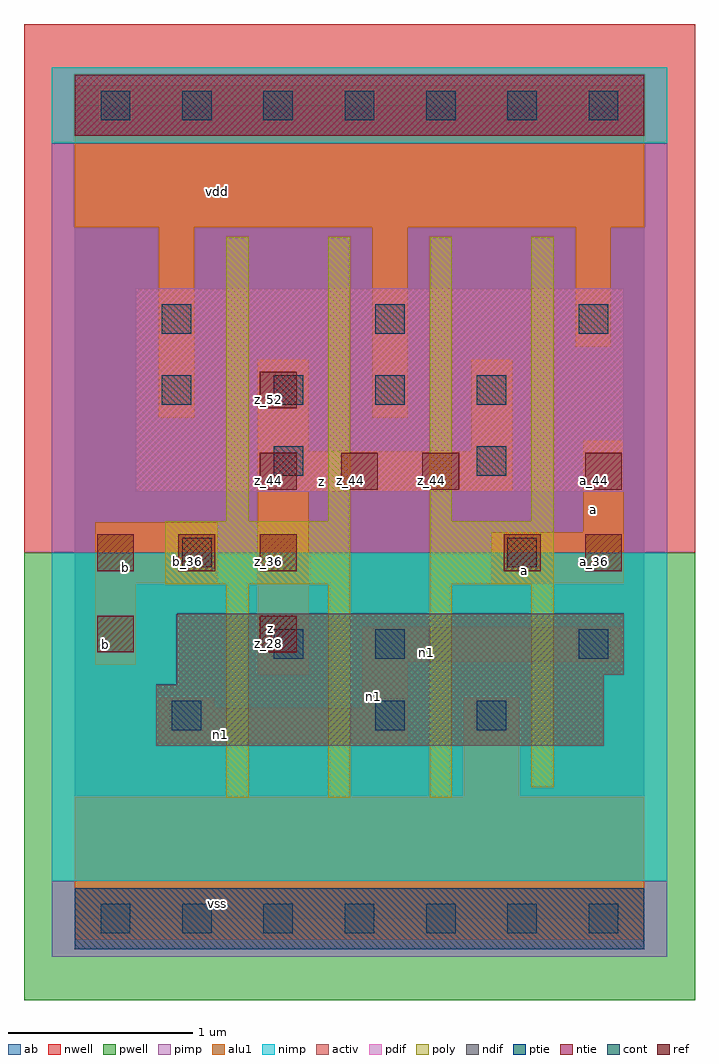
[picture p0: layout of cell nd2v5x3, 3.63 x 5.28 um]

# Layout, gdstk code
import gdstk
lib = gdstk.Library(unit=1e-6, precision=2.5e-09)
def R(c, l, rs):  # rectangles x0, y0, x1, y1
    for r in rs: c.add(gdstk.rectangle(r[:2], r[2:], *l))
def A(c, l, x, y, w, h, nx, ny, dx, dy):  # array of equal rectangles
    R(c, l, [(x+i*dx, y+j*dy, x+i*dx+w, y+j*dy+h) for i in range(nx) for j in range(ny)])
ndif = (3, 0)
pdif = (4, 0)
ntie = (5, 0)
ptie = (6, 0)
ref = (24, 0)
cont = (25, 0)
pwell = (41, 0)
nwell = (42, 0)
activ = (43, 0)
pimp = (44, 0)
nimp = (45, 0)
poly = (46, 0)
alu1 = (49, 0)
ab = (63, 0)

nd2v5x3 = lib.new_cell('nd2v5x3')
R(nd2v5x3, ndif, [(0.44,0.935,2.86,1.265), (0.55,1.265,2.86,1.32), (0.55,1.32,2.97,1.65)])
R(nd2v5x3, pdif, [(0.33,2.31,2.97,3.41)])
R(nd2v5x3, ntie, [(0,4.235,3.08,4.565)])
R(nd2v5x3, ptie, [(0,-0.165,3.08,0.165)])
A(nd2v5x3, ref, 0.12, 1.88, 0.2, 0.2, 3, 1, 0.44, 0)
A(nd2v5x3, ref, 1, 2.32, 0.2, 0.2, 3, 1, 0.44, 0)
R(nd2v5x3, ref, [(0.12,1.44,0.32,1.64), (1,1.44,1.2,1.64), (2.32,1.88,2.52,2.08), (2.76,1.88,2.96,2.08), (2.76,2.32,2.96,2.52), (1,2.76,1.2,2.96)])
A(nd2v5x3, cont, 0.14, -0.08, 0.16, 0.16, 7, 2, 0.44, 4.4)
A(nd2v5x3, cont, 1.075, 2.78, 0.16, 0.16, 3, 1, 0.55, 0)
R(nd2v5x3, cont, [(0.525,1.02,0.685,1.18), (1.625,1.02,1.785,1.18), (2.175,1.02,2.335,1.18), (1.075,1.405,1.235,1.565), (1.625,1.405,1.785,1.565), (2.725,1.405,2.885,1.565), (0.58,1.9,0.74,2.06), (2.34,1.9,2.5,2.06), (1.075,2.395,1.235,2.555), (2.175,2.395,2.335,2.555), (0.47,2.78,0.63,2.94), (0.47,3.165,0.63,3.325), (1.625,3.165,1.785,3.325), (2.725,3.165,2.885,3.325)])
R(nd2v5x3, pwell, [(-0.275,-0.44,3.355,1.98)])
R(nd2v5x3, nwell, [(-0.275,1.98,3.355,4.84)])
R(nd2v5x3, activ, [(0,-0.165,3.08,0.165), (0.44,0.935,2.86,1.265), (0.55,1.265,2.86,1.32), (0.55,1.32,2.97,1.65), (0.33,2.31,2.97,3.41), (0,4.235,3.08,4.565)])
R(nd2v5x3, pimp, [(-0.125,-0.205,3.205,0.205), (-0.125,1.98,3.205,4.195)])
R(nd2v5x3, nimp, [(-0.125,0.205,3.205,1.98), (-0.125,4.195,3.205,4.605)])
A(nd2v5x3, poly, 0.82, 0.655, 0.12, 1.155, 3, 1, 0.55, 0)
A(nd2v5x3, poly, 0.82, 2.15, 0.12, 1.54, 4, 1, 0.55, 0)
R(nd2v5x3, poly, [(2.47,0.71,2.59,1.81), (0.49,1.81,1.49,2.15), (1.92,1.81,2.59,2.15)])
R(nd2v5x3, alu1, [(0,-0.11,3.08,0.66), (2.105,0.66,2.405,1.195), (0.455,0.95,1.8,1.14), (0.455,1.14,0.755,1.195), (1.555,1.14,1.8,1.39), (0.99,1.32,1.265,2.31), (0.11,1.375,0.33,1.815), (1.555,1.39,2.955,1.58), (0.11,1.815,0.77,2.145), (2.255,1.815,2.97,2.09), (2.75,2.09,2.97,2.585), (0.99,2.31,2.365,2.53), (0.99,2.53,1.265,3.025), (2.145,2.53,2.365,3.025), (0.455,2.71,0.645,3.74), (1.61,2.71,1.8,3.74), (2.71,3.095,2.9,3.74), (0,3.74,3.08,4.51)])
R(nd2v5x3, ab, [(0,0,3.08,4.4)])
nd2v5x3.add(gdstk.Label('vss', (0.77,0.0825), layer=49, texttype=0))
nd2v5x3.add(gdstk.Label('n1', (0.79,0.9975), layer=49, texttype=0))
nd2v5x3.add(gdstk.Label('n1', (1.615,1.2025), layer=49, texttype=0))
nd2v5x3.add(gdstk.Label('n1', (1.905,1.4375), layer=49, texttype=0))
nd2v5x3.add(gdstk.Label('a', (2.4325,1.8825), layer=49, texttype=0))
nd2v5x3.add(gdstk.Label('a', (2.805,2.2125), layer=49, texttype=0))
nd2v5x3.add(gdstk.Label('z', (1.0575,1.5675), layer=49, texttype=0))
nd2v5x3.add(gdstk.Label('b', (0.165,1.485), layer=49, texttype=0))
nd2v5x3.add(gdstk.Label('b', (0.275,1.8975), layer=49, texttype=0))
nd2v5x3.add(gdstk.Label('z', (1.3325,2.365), layer=49, texttype=0))
nd2v5x3.add(gdstk.Label('vdd', (0.77,3.9325), layer=49, texttype=0))
nd2v5x3.add(gdstk.Label('a_44', (2.81,2.37), layer=24, texttype=0))
nd2v5x3.add(gdstk.Label('z_44', (1.93,2.37), layer=24, texttype=0))
nd2v5x3.add(gdstk.Label('z_44', (1.49,2.37), layer=24, texttype=0))
nd2v5x3.add(gdstk.Label('b_36', (0.17,1.93), layer=24, texttype=0))
nd2v5x3.add(gdstk.Label('b_28', (0.17,1.49), layer=24, texttype=0))
nd2v5x3.add(gdstk.Label('z_44', (1.05,2.37), layer=24, texttype=0))
nd2v5x3.add(gdstk.Label('z_36', (1.05,1.93), layer=24, texttype=0))
nd2v5x3.add(gdstk.Label('z_28', (1.05,1.49), layer=24, texttype=0))
nd2v5x3.add(gdstk.Label('b_36', (0.61,1.93), layer=24, texttype=0))
nd2v5x3.add(gdstk.Label('a_36', (2.81,1.93), layer=24, texttype=0))
nd2v5x3.add(gdstk.Label('a_36', (2.37,1.93), layer=24, texttype=0))
nd2v5x3.add(gdstk.Label('z_52', (1.05,2.81), layer=24, texttype=0))

lib.write_gds('nd2v5x3.gds')
